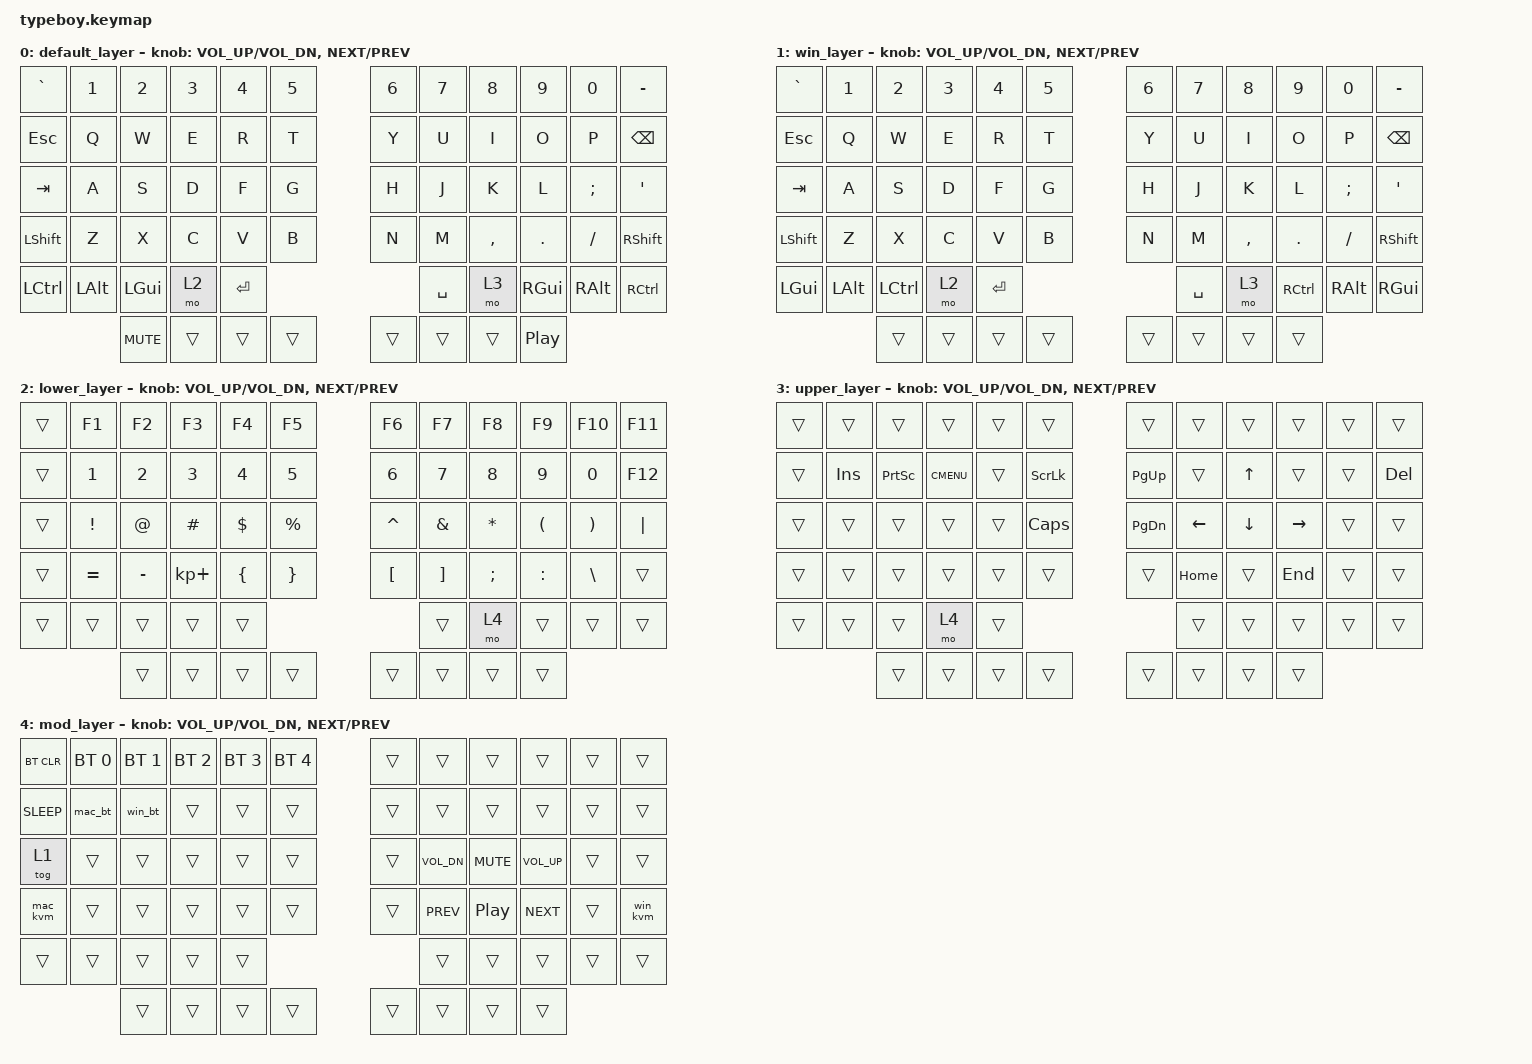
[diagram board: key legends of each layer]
#include <behaviors.dtsi>
#include <dt-bindings/zmk/keys.h>
#include <dt-bindings/zmk/bt.h>
#include <dt-bindings/zmk/outputs.h>

/ {
    macros {
      mac_bt: mac_bt {
        label = "mac_bt";
        compatible = "zmk,behavior-macro";
        #binding-cells = <0>;
        bindings
          = <&macro_tap &bt BT_SEL 0>
          , <&macro_tap &tog 1>
          ;
      };
      win_bt: win_bt {
        label = "win_bt";
        compatible = "zmk,behavior-macro";
        #binding-cells = <0>;
        bindings
          = <&macro_tap &bt BT_SEL 1>
          , <&macro_tap &tog 1>
          ;
      };
      mac_kvm: mac_kvm {
        label = "mac_kvm";
        compatible = "zmk,behavior-macro";
        #binding-cells = <0>;
        bindings
          = <&macro_tap &kp SLCK>
          , <&macro_wait_time 50>
          , <&macro_tap &kp SLCK>
          , <&macro_wait_time 50>
          , <&macro_tap &kp N1>
          , <&macro_tap &to 0>
          ;
      };
      win_kvm: win_kvm {
        label = "win_kvm";
        compatible = "zmk,behavior-macro";
        #binding-cells = <0>;
        bindings
          = <&macro_tap &kp SLCK>
          , <&macro_wait_time 50>
          , <&macro_tap &kp SLCK>
          , <&macro_wait_time 50>
          , <&macro_tap &kp N2>
          , <&macro_tap &to 1>
          ;
      };
    };

    keymap {
      compatible = "zmk,keymap";

      default_layer {
        // ,-----------------------------------------.               ,-----------------------------------------.
        // |  `   |  1   |  2   |  3   |  4   |  5   |               |  6   |  7   |  8   |  9   |  0   |  -   |
        // |------+------+------+------+------+------|               |------+------+------+------+------+------|
        // | Esc  |  Q   |  W   |  E   |  R   |  T   |               |  Y   |  U   |  I   |  O   |  P   | BSPC |
        // |------+------+------+------+------+------|               |------+------+------+------+------+------|
        // | Tab  |  A   |  S   |  D   |  F   |  G   |               |  H   |  J   |  K   |  L   |  ;   |  '   |
        // |------+------+------+------+------+------+------. .------+------+------+------+------+------+------|
        // | Shift|  Z   |  X   |  C   |  V   |  B   |      | |      |  N   |  M   |  ,   |  .   |  /   | Shift|
        // `-------------+------+------+------+------| Enter| | Space|------+------+------+------+------+------'
        //               | Ctrl | Alt  | Cmd  | Lower|      | |      | Raise| Cmd  | Alt  | Ctrl |
        //               `----------------------------------' '----------------------------------'
        bindings = <
          &kp GRAVE &kp N1 &kp N2    &kp N3   &kp N4   &kp N5                   &kp N6 &kp N7   &kp N8    &kp N9    &kp N0   &kp MINUS
          &kp ESC   &kp Q  &kp W     &kp E    &kp R    &kp T                    &kp Y  &kp U    &kp I     &kp O     &kp P    &kp BSPC
          &kp TAB   &kp A  &kp S     &kp D    &kp F    &kp G                    &kp H  &kp J    &kp K     &kp L     &kp SEMI &kp SQT
          &kp LSHFT &kp Z  &kp X     &kp C    &kp V    &kp B                    &kp N  &kp M    &kp COMMA &kp DOT   &kp FSLH &kp RSHFT
                          &kp LCTRL  &kp LALT &kp LGUI &mo 2  &kp RET &kp SPACE &mo 3  &kp RGUI &kp RALT  &kp RCTRL
          &kp C_MUTE &trans &trans &trans &trans &trans &trans &kp C_PP
        >;
        sensor-bindings = <&inc_dec_kp C_VOL_UP C_VOL_DN &inc_dec_kp C_NEXT C_PREV>;
      };

      win_layer {
        // ,-----------------------------------------.               ,-----------------------------------------.
        // |  `   |  1   |  2   |  3   |  4   |  5   |               |  6   |  7   |  8   |  9   |  0   |  -   |
        // |------+------+------+------+------+------|               |------+------+------+------+------+------|
        // | Esc  |  Q   |  W   |  E   |  R   |  T   |               |  Y   |  U   |  I   |  O   |  P   | BSPC |
        // |------+------+------+------+------+------|               |------+------+------+------+------+------|
        // | Tab  |  A   |  S   |  D   |  F   |  G   |               |  H   |  J   |  K   |  L   |  ;   |  '   |
        // |------+------+------+------+------+------+------. .------+------+------+------+------+------+------|
        // | Shift|  Z   |  X   |  C   |  V   |  B   |      | |      |  N   |  M   |  ,   |  .   |  /   | Shift|
        // `-------------+------+------+------+------| Enter| | Space|------+------+------+------+------+------'
        //               | Ctrl | Alt  | Cmd  | Lower|      | |      | Raise| Cmd  | Alt  | Ctrl |
        //               `----------------------------------' '----------------------------------'
        bindings = <
          &kp GRAVE &kp N1 &kp N2   &kp N3   &kp N4    &kp N5                   &kp N6 &kp N7    &kp N8    &kp N9    &kp N0   &kp MINUS
          &kp ESC   &kp Q  &kp W    &kp E    &kp R     &kp T                    &kp Y  &kp U     &kp I     &kp O     &kp P    &kp BSPC
          &kp TAB   &kp A  &kp S    &kp D    &kp F     &kp G                    &kp H  &kp J     &kp K     &kp L     &kp SEMI &kp SQT
          &kp LSHFT &kp Z  &kp X    &kp C    &kp V     &kp B                    &kp N  &kp M     &kp COMMA &kp DOT   &kp FSLH &kp RSHFT
                            &kp LGUI &kp LALT &kp LCTRL &mo 2  &kp RET &kp SPACE &mo 3  &kp RCTRL &kp RALT  &kp RGUI
          &trans &trans &trans &trans &trans &trans &trans &trans
        >;
        sensor-bindings = <&inc_dec_kp C_VOL_UP C_VOL_DN &inc_dec_kp C_NEXT C_PREV>;
      };

      lower_layer {
        // ,-----------------------------------------.               ,-----------------------------------------.
        // |      |  F1  |  F2  |  F3  |  F4  |  F5  |               |  F6  |  F7  |  F8  |  F9  | F10  | F11  |
        // |------+------+------+------+------+------|               |------+------+------+------+------+------|
        // |      |  1   |  2   |  3   |  4   |  5   |               |  6   |  7   |  8   |  9   |  0   | F12  |
        // |------+------+------+------+------+------|               |------+------+------+------+------+------|
        // |      |  !   |  @   |  #   |  $   |  %   |               |  ^   |  &   |  *   |  (   |  )   |  |   |
        // |------+------+------+------+------+------+------. .------+------+------+------+------+------+------|
        // |      |  =   |  -   |  +   |  {   |  }   |      | |      |  [   |  ]   |  ;   |  :   |  \   |      |
        // `-------------+------+------+------+------|      | |      |------+------+------+------+------+------'
        //               |      |      |      |      |      | |      | Raise|      |      |      |
        //               `----------------------------------' '----------------------------------'
        bindings = <
          &trans &kp F1    &kp F2    &kp F3      &kp F4   &kp F5                 &kp F6    &kp F7   &kp F8    &kp F9    &kp F10  &kp F11
          &trans &kp N1    &kp N2    &kp N3      &kp N4   &kp N5                 &kp N6    &kp N7   &kp N8    &kp N9    &kp N0   &kp F12
          &trans &kp EXCL  &kp AT    &kp HASH    &kp DLLR &kp PRCNT              &kp CARET &kp AMPS &kp ASTRK &kp LPAR  &kp RPAR &kp PIPE
          &trans &kp EQUAL &kp MINUS &kp KP_PLUS &kp LBRC &kp RBRC               &kp LBKT  &kp RBKT &kp SEMI  &kp COLON &kp BSLH &trans
                            &trans    &trans      &trans   &trans   &trans &trans &mo 4     &trans   &trans    &trans
          &trans &trans &trans &trans &trans &trans &trans &trans
        >;
        sensor-bindings = <&inc_dec_kp C_VOL_UP C_VOL_DN &inc_dec_kp C_NEXT C_PREV>;
      };

      upper_layer {
        // ,-----------------------------------------.               ,-----------------------------------------.
        // |      |      |      |      |      |      |               |      |      |      |      |      |      |
        // |------+------+------+------+------+------|               |------+------+------+------+------+------|
        // |      | INS  | PSCRN| MENU |      | Scll |               | PG UP|      |  Up  |      |      | Del  |
        // |------+------+------+------+------+------|               |------+------+------+------+------+------|
        // |      |      |      |      |      | Caps |               | PG DN| Left | Down | Right|      |      |
        // |------+------+------+------+------+------+------. .------+------+------+------+------+------+------|
        // |      |      |      |      |      |      |      | |      |      | LStr |      | LEnd |      |      |
        // `-------------+------+------+------+------|      | |      |------+------+------+------+------+------'
        //               |      |      |      | Lower|      | |      |      |      |      |      |
        //               `----------------------------------' '----------------------------------'
        bindings = <
          &trans &trans  &trans    &trans      &trans &trans                 &trans    &trans   &trans   &trans    &trans &trans
          &trans &kp INS &kp PSCRN &kp K_CMENU &trans &kp SLCK               &kp PG_UP &trans   &kp UP   &trans    &trans &kp DEL
          &trans &trans  &trans    &trans      &trans &kp CLCK               &kp PG_DN &kp LEFT &kp DOWN &kp RIGHT &trans &trans
          &trans &trans  &trans    &trans      &trans &trans                 &trans    &kp HOME &trans   &kp END   &trans &trans
                          &trans    &trans      &trans &mo 4    &trans &trans &trans    &trans   &trans   &trans
          &trans &trans &trans &trans &trans &trans &trans &trans
        >;
        sensor-bindings = <&inc_dec_kp C_VOL_UP C_VOL_DN &inc_dec_kp C_NEXT C_PREV>;
      };

      mod_layer {
        // ,-----------------------------------------.               ,-----------------------------------------.
        // |BT CLR| BT1  | BT2  | BT3  | BT4  | BT5  |               |      |      |      |      |      |      |
        // |------+------+------+------+------+------|               |------+------+------+------+------+------|
        // | Sleep|      |      |      |      |      |               |      |      |      |      |      |      |
        // |------+------+------+------+------+------|               |------+------+------+------+------+------|
        // |      |      |      |      |      |      |               |      | VolDn| Mute | VolUp|      |      |
        // |------+------+------+------+------+------+------. .------+------+------+------+------+------+------|
        // |      |      |      |      |      |      |      | |      |      | Prev | Play | Next |      |      |
        // `-------------+------+------+------+------|      | |      |------+------+------+------+------+------'
        //               |      |      |      |      |      | |      |      |      |      |      |
        //               `----------------------------------' '----------------------------------'
        bindings = <
            &bt BT_CLR  &bt BT_SEL 0 &bt BT_SEL 1 &bt BT_SEL 2 &bt BT_SEL 3 &bt BT_SEL 4               &trans &trans       &trans     &trans       &trans &trans
            &kp K_SLEEP &mac_bt      &win_bt      &trans       &trans       &trans                     &trans &trans       &trans     &trans       &trans &trans
            &tog 1      &trans       &trans       &trans       &trans       &trans                     &trans &kp C_VOL_DN &kp C_MUTE &kp C_VOL_UP &trans &trans
            &mac_kvm    &trans       &trans       &trans       &trans       &trans                     &trans &kp C_PREV   &kp C_PP   &kp C_NEXT   &trans &win_kvm
                                      &trans       &trans       &trans       &trans       &trans &trans &trans &trans       &trans     &trans
            &trans &trans &trans &trans &trans &trans &trans &trans
        >;
        sensor-bindings = <&inc_dec_kp C_VOL_UP C_VOL_DN &inc_dec_kp C_NEXT C_PREV>;
      };
  };
};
